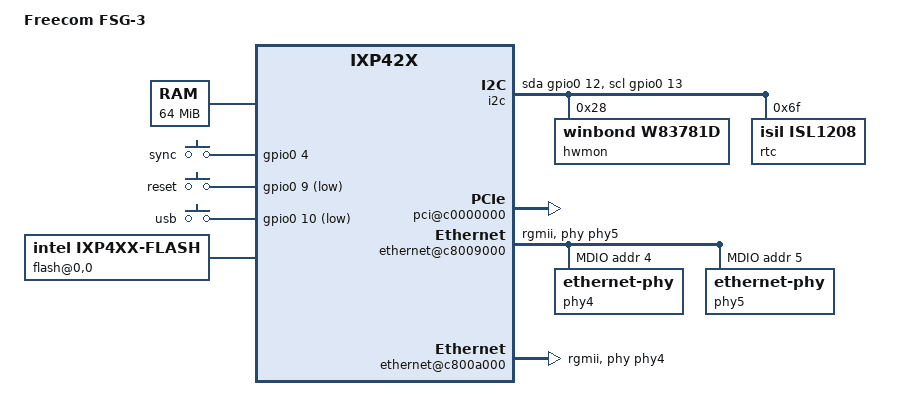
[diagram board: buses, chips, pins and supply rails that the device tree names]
// SPDX-License-Identifier: ISC
/*
 * Device Tree file for the Freecom FSG-3 router.
 * This machine is based on IXP425.
 * This device tree is inspired by the board file by Rod Whitby.
 */

/dts-v1/;

#include "intel-ixp42x.dtsi"
#include <dt-bindings/input/input.h>

/ {
	model = "Freecom FSG-3";
	compatible = "freecom,fsg-3", "intel,ixp42x";
	#address-cells = <1>;
	#size-cells = <1>;

	memory@0 {
		/* 64 MB memory */
		device_type = "memory";
		reg = <0x00000000 0x4000000>;
	};

	chosen {
		/* Boot from the first partition on the hard drive */
		bootargs = "console=ttyS0,115200n8 root=/dev/sda1 rw rootfstype=ext4 rootwait";
		stdout-path = "uart0:115200n8";
	};

	aliases {
		serial0 = &uart0;
	};

	gpio_keys {
		compatible = "gpio-keys";

		button-sync {
			wakeup-source;
			/* Closest approximation of what the key should do */
			linux,code = <KEY_CONNECT>;
			label = "sync";
			gpios = <&gpio0 4 GPIO_ACTIVE_HIGH>;
		};
		button-reset {
			wakeup-source;
			linux,code = <KEY_ESC>;
			label = "reset";
			gpios = <&gpio0 9 GPIO_ACTIVE_LOW>;
		};
		button-usb {
			wakeup-source;
			/* Unplug USB, closest approximation of what the key should do */
			linux,code = <KEY_EJECTCD>;
			label = "usb";
			gpios = <&gpio0 10 GPIO_ACTIVE_LOW>;
		};
	};

	i2c {
		compatible = "i2c-gpio";
		sda-gpios = <&gpio0 12 (GPIO_ACTIVE_HIGH|GPIO_OPEN_DRAIN)>;
		scl-gpios = <&gpio0 13 (GPIO_ACTIVE_HIGH|GPIO_OPEN_DRAIN)>;
		#address-cells = <1>;
		#size-cells = <0>;

		hwmon@28 {
			/*
			 * Temperature sensor and fan control chip.
			 *
			 * TODO: create a proper device tree binding for
			 * the sensor and temperature zone and create a
			 * zone with fan control.
			 */
			compatible = "winbond,w83781d";
			reg = <0x28>;
		};
		rtc@6f {
			compatible = "isil,isl1208";
			reg = <0x6f>;
		};
	};

	soc {
		bus@c4000000 {
			flash@0,0 {
				compatible = "intel,ixp4xx-flash", "cfi-flash";
				bank-width = <2>;
				/* Enable writes on the expansion bus */
				intel,ixp4xx-eb-write-enable = <1>;
				/* 4 MB of Flash mapped in at CS0 */
				reg = <0 0x00000000 0x400000>;

				partitions {
					compatible = "redboot-fis";
					/* Eraseblock at 0x3e0000 */
					fis-index-block = <0x1f>;
				};
			};
		};

		pci@c0000000 {
			status = "ok";

			/*
			 * Written based on the FSG-3 PCI boardfile.
			 * We have slots 12, 13 & 14 (IDSEL) with one IRQ each.
			 */
			interrupt-map =
			/* IDSEL 12 */
			<0x6000 0 0 1 &gpio0 5 IRQ_TYPE_LEVEL_LOW>, /* INT A on slot 12 is irq 5 */
			<0x6000 0 0 2 &gpio0 5 IRQ_TYPE_LEVEL_LOW>, /* INT B on slot 12 is irq 5 */
			<0x6000 0 0 3 &gpio0 5 IRQ_TYPE_LEVEL_LOW>, /* INT C on slot 12 is irq 5 */
			<0x6000 0 0 4 &gpio0 5 IRQ_TYPE_LEVEL_LOW>, /* INT D on slot 12 is irq 5 */
			/* IDSEL 13 */
			<0x6800 0 0 1 &gpio0 7 IRQ_TYPE_LEVEL_LOW>, /* INT A on slot 13 is irq 7 */
			<0x6800 0 0 2 &gpio0 7 IRQ_TYPE_LEVEL_LOW>, /* INT B on slot 13 is irq 7 */
			<0x6800 0 0 3 &gpio0 7 IRQ_TYPE_LEVEL_LOW>, /* INT C on slot 13 is irq 7 */
			<0x6800 0 0 4 &gpio0 7 IRQ_TYPE_LEVEL_LOW>, /* INT D on slot 13 is irq 7 */
			/* IDSEL 14 */
			<0x7000 0 0 1 &gpio0 6 IRQ_TYPE_LEVEL_LOW>, /* INT A on slot 14 is irq 6 */
			<0x7000 0 0 2 &gpio0 6 IRQ_TYPE_LEVEL_LOW>, /* INT B on slot 14 is irq 6 */
			<0x7000 0 0 3 &gpio0 6 IRQ_TYPE_LEVEL_LOW>, /* INT C on slot 14 is irq 6 */
			<0x7000 0 0 4 &gpio0 6 IRQ_TYPE_LEVEL_LOW>; /* INT D on slot 14 is irq 6 */
		};

		/* EthB */
		ethernet@c8009000 {
			status = "ok";
			queue-rx = <&qmgr 3>;
			queue-txready = <&qmgr 20>;
			phy-mode = "rgmii";
			phy-handle = <&phy5>;

			mdio {
				#address-cells = <1>;
				#size-cells = <0>;

				phy4: ethernet-phy@4 {
					reg = <4>;
				};

				phy5: ethernet-phy@5 {
					reg = <5>;
				};
			};
		};

		/* EthC */
		ethernet@c800a000 {
			status = "ok";
			queue-rx = <&qmgr 4>;
			queue-txready = <&qmgr 21>;
			phy-mode = "rgmii";
			phy-handle = <&phy4>;
		};
	};
};
